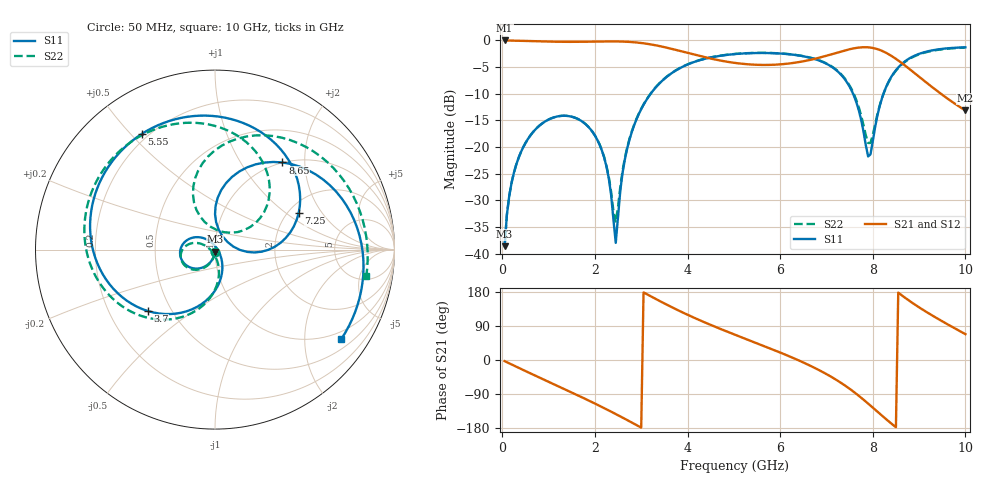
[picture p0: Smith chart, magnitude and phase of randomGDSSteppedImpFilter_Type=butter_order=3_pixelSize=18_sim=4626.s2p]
! freq	dB(S11)	phase(S11)	dB(S12)	phase(S12)
!  dB(S21)	phase(S21)	dB(S22)	phase(S22)
!S-par simulation data
#  GHz  S  DB  R 50
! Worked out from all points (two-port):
!   200 points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, 50 MHz to 10 GHz, reference 50 ohm
!   highest |S21| = -0.01 dB at 50 MHz (marker M1); lowest = -13.2 dB at 10 GHz (marker M2)
!   |S21| within 3 dB of the highest: start of sweep to 4.301 GHz; 6.945 GHz to 8.422 GHz (1.477 GHz wide, 19.2 % of centre)
!   lowest |S11| = -38.6 dB at 50 MHz (marker M3), VSWR 1.02, Z = 49.9 - j1.17 ohm
!   |S11| at or under -10 dB: start of sweep to 3.205 GHz; 7.573 GHz to 8.232 GHz (658.9 MHz wide, 8.34 % of centre)
!   |S22| runs from -38.6 to -1.4 dB; largest |S21 - S12| = 0
!   S11 on the Smith chart (normalised r, x): 50 MHz: 1.00, -0.02; 3.7 GHz: 0.37, -0.34; 5.55 GHz: 0.17, +0.54; 7.25 GHz: 2.27, +1.25; 8.65 GHz: 1.00, +1.55; 10 GHz: 0.76, -2.97
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0.05  -38.61 -92.5  -0.01 -3.0  -0.01 -3.0  -38.61 -92.2
0.2  -26.74 -102.1  -0.03 -11.7  -0.03 -11.7  -26.73 -101.2
0.55  -18.55 -123.7  -0.11 -32.0  -0.11 -32.0  -18.54 -121.1
1.15  -14.35 -159.4  -0.24 -66.1  -0.24 -66.1  -14.35 -153.6
1.75  -15.37 164.1  -0.25 -100.2  -0.25 -100.2  -15.37 175.2
2.2  -21.99 131.3  -0.19 -127.0  -0.19 -127.0  -21.91 157.2
2.45  -38.00 30.6  -0.18 -142.6  -0.18 -142.6  -34.19 -137.0
2.6  -24.68 -53.4  -0.21 -152.2  -0.21 -152.2  -24.29 -79.4
2.75  -18.51 -69.9  -0.28 -162.0  -0.28 -162.0  -18.37 -79.4
3.4  -8.01 -117.9  -1.07 155.6  -1.07 155.6  -7.98 -113.3
3.7  -5.90 -137.6  -1.67 136.9  -1.67 136.9  -5.86 -130.4
4.4  -3.39 -178.6  -3.21 97.7  -3.21 97.7  -3.37 -166.6
5.05  -2.54 147.4  -4.25 65.5  -4.25 65.5  -2.51 163.7
5.55  -2.35 122.3  -4.59 41.7  -4.59 41.7  -2.33 142.0
6.7  -3.37 59.9  -3.55 -18.1  -3.55 -18.1  -3.34 87.6
7.25  -5.87 23.6  -2.24 -55.2  -2.24 -55.2  -5.78 55.3
7.65  -11.73 -2.6  -1.40 -89.8  -1.40 -89.8  -11.31 33.4
7.9  -21.78 31.3  -1.30 -115.0  -1.30 -115.0  -19.25 63.2
8.35  -7.61 76.7  -2.62 -162.6  -2.62 -162.6  -7.68 105.5
8.65  -4.24 52.3  -4.40 168.5  -4.40 168.5  -4.34 82.3
9.3  -1.84 5.5  -8.88 116.3  -8.88 116.3  -1.92 34.5
10  -1.29 -35.3  -13.15 68.2  -13.15 68.2  -1.35 -9.9
